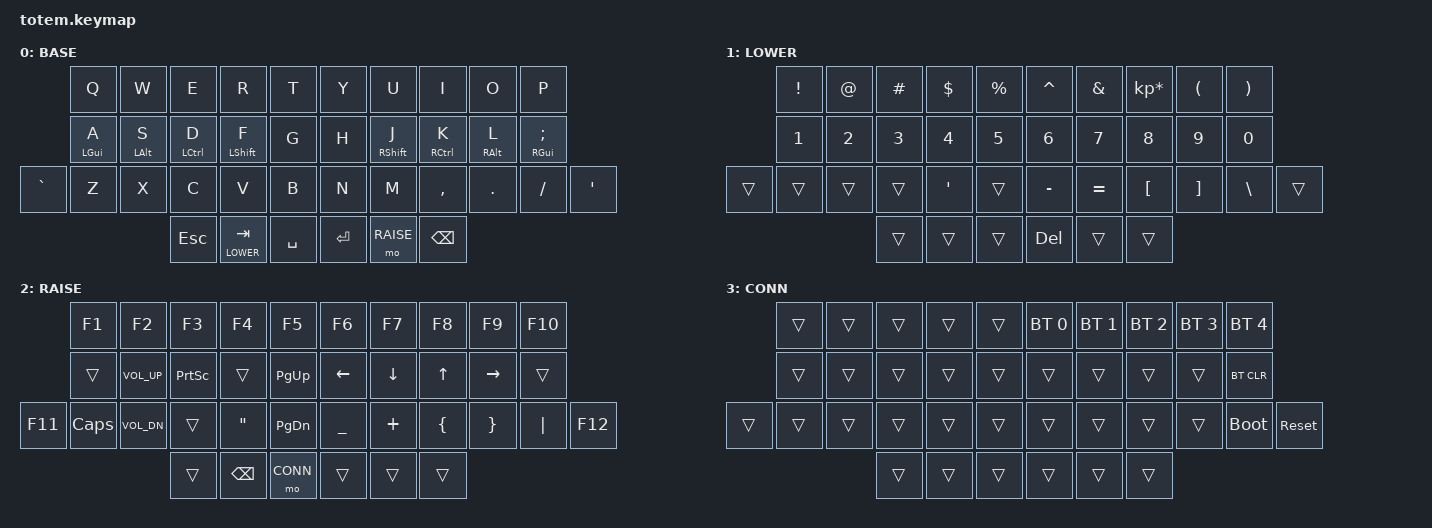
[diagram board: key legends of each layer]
//
//                                                        ▀▀▀▀▀     ▀▀▀▀▀          ▀▀█▀▀
//                                                        ▄▀▀▀▄  ▄  ▄▀▀▀▄  ▄  ▄▀▀▀▄  █  ▄▀▀▀▄
//                                                        █   █  █  █   █  █  █   █  █  █   █
//                                                         ▀▀▀   █   ▀▀▀   █   ▀▀▀   ▀   ▀▀▀
//                                                               █      ▄▄▄█▄▄▄    █   █  
//                                                               ▀      █  █  █     █▄█
//                                                             ▀▀▀▀▀    █  █  █      ▀
//                                                                      ▀  ▀  ▀
//
// ▄▄▄▄▄▄▄▄▄▄▄▄▄▄▄▄▄▄▄▄▄▄▄▄▄▄▄▄▄▄▄▄▄▄▄▄▄▄▄▄▄▄▄▄▄▄▄▄▄▄▄▄▄▄▄▄▄▄▄▄▄▄▄▄▄▄▄▄▄▄▄▄▄▄▄▄▄▄▄▄▄▄▄▄▄▄▄▄▄▄▄▄▄▄▄▄▄▄▄▄▄▄▄▄▄▄▄▄▄▄▄▄▄▄▄▄▄▄▄▄▄▄▄▄▄▄▄▄▄▄▄▄▄▄▄▄▄▄▄▄▄▄▄▄▄▄▄▄▄
       

#include <behaviors.dtsi>
#include <dt-bindings/zmk/keys.h>
#include <dt-bindings/zmk/bt.h>
#include <dt-bindings/zmk/outputs.h>

#define BASE 0
#define LOWER  1
#define RAISE  2
#define CONN  3

&mt {
  quick-tap-ms = <160>;
  global-quick-tap;
  flavor = "tap-preferred";
  tapping-term-ms = <160>;
};

/ {
        keymap {
                compatible = "zmk,keymap";
// ▄▄▄▄▄▄▄▄▄▄▄▄▄▄▄▄▄▄▄▄▄▄▄▄▄▄▄▄▄▄▄▄▄▄▄▄▄▄▄▄▄▄▄▄▄▄▄▄▄▄▄▄▄▄▄▄▄▄▄▄▄▄▄▄▄▄▄▄▄▄▄▄▄▄▄▄▄▄▄▄▄▄▄▄▄▄▄▄▄▄▄▄▄▄▄▄▄▄▄▄▄▄▄▄▄▄▄▄▄▄▄▄▄▄▄▄▄▄▄▄▄▄▄▄▄▄▄▄▄▄▄▄▄▄▄▄▄▄▄▄▄▄▄▄▄▄▄▄▄

                base_layer {
// ┏━━━━━━━━━━━━━━━━━━━━━━━━━━━━━━━━━━━━━━━┓
label= "BASE"                              ;
// ┗━━━━━━━━━━━━━━━━━━━━━━━━━━━━━━━━━━━━━━━┛
//             ┏━━━━━━━━━━━┳━━━━━━━━━━━┳━━━━━━━━━━━┳━━━━━━━━━━━┳━━━━━━━━━━━┓   ┏━━━━━━━━━━━┳━━━━━━━━━━━┳━━━━━━━━━━━┳━━━━━━━━━━━┳━━━━━━━━━━━┓
//             ┃     Q     ┃     W     ┃     E     ┃     R     ┃     T     ┃   ┃     Y     ┃     U     ┃     I     ┃     O     ┃     P     ┃
//             ┣━━━━━━━━━━━╋━━━━━━━━━━━╋━━━━━━━━━━━╋━━━━━━━━━━━╋━━━━━━━━━━━┫   ┣━━━━━━━━━━━╋━━━━━━━━━━━╋━━━━━━━━━━━╋━━━━━━━━━━━╋━━━━━━━━━━━┫
//             ┃     A     ┃     S     ┃     D     ┃     F     ┃     G     ┃   ┃     H     ┃     J     ┃     h     ┃     L     ┃     ;     ┃
// ┏━━━━━━━━━━━╋━━━━━━━━━━━╋━━━━━━━━━━━╋━━━━━━━━━━━╋━━━━━━━━━━━╋━━━━━━━━━━━┫   ┣━━━━━━━━━━━╋━━━━━━━━━━━╋━━━━━━━━━━━╋━━━━━━━━━━━╋━━━━━━━━━━━╋━━━━━━━━━━━┓
// ┃     `     ┃     Z     ┃     X     ┃     C     ┃     V     ┃     B     ┃   ┃     N     ┃     M     ┃     ,     ┃     .     ┃     /     ┃     '     ┃
// ┗━━━━━━━━━━━┻━━━━━━━━━━━┻━━━━━━━━━━━╋━━━━━━━━━━━╋━━━━━━━━━━━╋━━━━━━━━━━━┫   ┣━━━━━━━━━━━╋━━━━━━━━━━━╋━━━━━━━━━━━╋━━━━━━━━━━━┻━━━━━━━━━━━┻━━━━━━━━━━━┛
//                                     ┃    ESC    ┃    TAB    ┃  SPACE    ┃   ┃    RET    ┃           ┃   BSPC    ┃
//                                     ┗━━━━━━━━━━━┻━━━━━━━━━━━┻━━━━━━━━━━━┛   ┗━━━━━━━━━━━┻━━━━━━━━━━━┻━━━━━━━━━━━┛
 bindings = <
// ╷           ╷           ╷           ╷           ╷           ╷           ╷   ╷           ╷           ╷           ╷           ╷           ╷           ╷

                &kp Q       &kp W       &kp E       &kp R           &kp T           &kp Y       &kp U       &kp I       &kp O       &kp P
                &mt LGUI A  &mt LALT S  &mt LCTRL D &mt LSHFT F     &kp G           &kp H       &mt RSHFT J &mt RCTRL K &mt RALT L  &mt RGUI SEMI
    &kp GRAVE   &kp Z       &kp X       &kp C       &kp V           &kp B           &kp N       &kp M       &kp COMMA   &kp DOT     &kp FSLH      &kp APOS
                                        &kp ESC     &lt LOWER TAB   &kp SPACE       &kp RET     &mo RAISE   &kp BSPC
                        >;
                };

// ▄▄▄▄▄▄▄▄▄▄▄▄▄▄▄▄▄▄▄▄▄▄▄▄▄▄▄▄▄▄▄▄▄▄▄▄▄▄▄▄▄▄▄▄▄▄▄▄▄▄▄▄▄▄▄▄▄▄▄▄▄▄▄▄▄▄▄▄▄▄▄▄▄▄▄▄▄▄▄▄▄▄▄▄▄▄▄▄▄▄▄▄▄▄▄▄▄▄▄▄▄▄▄▄▄▄▄▄▄▄▄▄▄▄▄▄▄▄▄▄▄▄▄▄▄▄▄▄▄▄▄▄▄▄▄▄▄▄▄▄▄▄▄▄▄▄▄▄▄


                lower_layer {
// ┏━━━━━━━━━━━━━━━━━━━━━━━━━━━━━━━━━━━━━━━┓
label= "LOWER"                              ;
// ┗━━━━━━━━━━━━━━━━━━━━━━━━━━━━━━━━━━━━━━━┛
//             ┏━━━━━━━━━━━┳━━━━━━━━━━━┳━━━━━━━━━━━┳━━━━━━━━━━━┳━━━━━━━━━━━┓   ┏━━━━━━━━━━━┳━━━━━━━━━━━┳━━━━━━━━━━━┳━━━━━━━━━━━┳━━━━━━━━━━━┓
//             ┃     !     ┃     @     ┃     #     ┃     $     ┃     %     ┃   ┃     ^     ┃     &     ┃     *     ┃     (     ┃     )     ┃
//             ┣━━━━━━━━━━━╋━━━━━━━━━━━╋━━━━━━━━━━━╋━━━━━━━━━━━╋━━━━━━━━━━━┫   ┣━━━━━━━━━━━╋━━━━━━━━━━━╋━━━━━━━━━━━╋━━━━━━━━━━━╋━━━━━━━━━━━┫
//             ┃     1     ┃     2     ┃     3     ┃     4     ┃     5     ┃   ┃     6     ┃     7     ┃     8     ┃     9     ┃     0     ┃
// ┏━━━━━━━━━━━╋━━━━━━━━━━━╋━━━━━━━━━━━╋━━━━━━━━━━━╋━━━━━━━━━━━╋━━━━━━━━━━━┫   ┣━━━━━━━━━━━╋━━━━━━━━━━━╋━━━━━━━━━━━╋━━━━━━━━━━━╋━━━━━━━━━━━╋━━━━━━━━━━━┓
// ┃           ┃           ┃           ┃           ┃     '     ┃           ┃   ┃     -     ┃     =     ┃     [     ┃     ]     ┃     \     ┃           ┃
// ┗━━━━━━━━━━━┻━━━━━━━━━━━┻━━━━━━━━━━━╋━━━━━━━━━━━╋━━━━━━━━━━━╋━━━━━━━━━━━┫   ┣━━━━━━━━━━━╋━━━━━━━━━━━╋━━━━━━━━━━━╋━━━━━━━━━━━┻━━━━━━━━━━━┻━━━━━━━━━━━┛
//                                     ┃           ┃           ┃           ┃   ┃           ┃           ┃           ┃
//                                     ┗━━━━━━━━━━━┻━━━━━━━━━━━┻━━━━━━━━━━━┛   ┗━━━━━━━━━━━┻━━━━━━━━━━━┻━━━━━━━━━━━┛
 bindings = <
// ╷           ╷           ╷           ╷           ╷           ╷           ╷   ╷           ╷           ╷           ╷           ╷           ╷           ╷

                &kp EXCL    &kp AT      &kp HASH    &kp DLLR    &kp PRCNT       &kp CARET   &kp AMPS    &kp KP_MULTIPLY   &kp LPAR  &kp RPAR
                &kp N1      &kp N2      &kp N3      &kp N4      &kp N5          &kp N6      &kp N7      &kp N8            &kp N9    &kp N0        
    &trans      &trans      &trans      &trans      &kp APOS      &trans          &kp MINUS   &kp EQUAL   &kp LBKT          &kp RBKT  &kp BSLH    &trans 
                                        &trans      &trans      &trans          &kp DEL     &trans      &trans      
                        >;
                };

// ▄▄▄▄▄▄▄▄▄▄▄▄▄▄▄▄▄▄▄▄▄▄▄▄▄▄▄▄▄▄▄▄▄▄▄▄▄▄▄▄▄▄▄▄▄▄▄▄▄▄▄▄▄▄▄▄▄▄▄▄▄▄▄▄▄▄▄▄▄▄▄▄▄▄▄▄▄▄▄▄▄▄▄▄▄▄▄▄▄▄▄▄▄▄▄▄▄▄▄▄▄▄▄▄▄▄▄▄▄▄▄▄▄▄▄▄▄▄▄▄▄▄▄▄▄▄▄▄▄▄▄▄▄▄▄▄▄▄▄▄▄▄▄▄▄▄▄▄▄


                raise_layer {
// ┏━━━━━━━━━━━━━━━━━━━━━━━━━━━━━━━━━━━━━━━┓
label= "RAISE"                               ;
// ┗━━━━━━━━━━━━━━━━━━━━━━━━━━━━━━━━━━━━━━━┛
//             ┏━━━━━━━━━━━┳━━━━━━━━━━━┳━━━━━━━━━━━┳━━━━━━━━━━━┳━━━━━━━━━━━┓   ┏━━━━━━━━━━━┳━━━━━━━━━━━┳━━━━━━━━━━━┳━━━━━━━━━━━┳━━━━━━━━━━━┓
//             ┃     F1    ┃     F2    ┃     F3    ┃     F4    ┃     F5    ┃   ┃     F6    ┃     F7    ┃     F8    ┃     F9    ┃     F10   ┃
//             ┣━━━━━━━━━━━╋━━━━━━━━━━━╋━━━━━━━━━━━╋━━━━━━━━━━━╋━━━━━━━━━━━┫   ┣━━━━━━━━━━━╋━━━━━━━━━━━╋━━━━━━━━━━━╋━━━━━━━━━━━╋━━━━━━━━━━━┫
//             ┃           ┃ VOL UP    ┃    PRINT  ┃           ┃  PG UP    ┃   ┃    LEFT   ┃    DOWN   ┃     UP    ┃    RIGHT  ┃           ┃
// ┏━━━━━━━━━━━╋━━━━━━━━━━━╋━━━━━━━━━━━╋━━━━━━━━━━━╋━━━━━━━━━━━╋━━━━━━━━━━━┫   ┣━━━━━━━━━━━╋━━━━━━━━━━━╋━━━━━━━━━━━╋━━━━━━━━━━━╋━━━━━━━━━━━╋━━━━━━━━━━━┓
// ┃    F11    ┃    CAPS   ┃ VOL DOWN  ┃           ┃     "     ┃  PG DOWN  ┃   ┃     _     ┃     +     ┃     {     ┃      }    ┃     |     ┃    F12    ┃
// ┗━━━━━━━━━━━┻━━━━━━━━━━━┻━━━━━━━━━━━╋━━━━━━━━━━━╋━━━━━━━━━━━╋━━━━━━━━━━━┫   ┣━━━━━━━━━━━╋━━━━━━━━━━━╋━━━━━━━━━━━╋━━━━━━━━━━━┻━━━━━━━━━━━┻━━━━━━━━━━━┛
//                                     ┃           ┃   BSPC    ┃   CONN    ┃   ┃           ┃           ┃           ┃
//                                     ┗━━━━━━━━━━━┻━━━━━━━━━━━┻━━━━━━━━━━━┛   ┗━━━━━━━━━━━┻━━━━━━━━━━━┻━━━━━━━━━━━┛
 bindings = <
// ╷           ╷           ╷           ╷           ╷           ╷           ╷   ╷           ╷           ╷           ╷           ╷           ╷           ╷

                &kp F1      &kp F2            &kp F3      &kp F4        &kp F5        &kp F6      &kp F7      &kp F8      &kp F9      &kp F10     
                &trans      &kp C_VOL_UP      &kp PSCRN   &trans        &kp PG_UP     &kp LEFT    &kp DOWN    &kp UP      &kp RIGHT   &trans   
    &kp F11     &kp CAPS    &kp C_VOL_DN      &trans      &kp DQT       &kp PG_DN     &kp UNDER   &kp PLUS    &kp LBRC    &kp RBRC    &kp PIPE    &kp F12
                                              &trans      &kp BSPC      &mo CONN      &trans      &trans      &trans
                        >;
                };

// ▄▄▄▄▄▄▄▄▄▄▄▄▄▄▄▄▄▄▄▄▄▄▄▄▄▄▄▄▄▄▄▄▄▄▄▄▄▄▄▄▄▄▄▄▄▄▄▄▄▄▄▄▄▄▄▄▄▄▄▄▄▄▄▄▄▄▄▄▄▄▄▄▄▄▄▄▄▄▄▄▄▄▄▄▄▄▄▄▄▄▄▄▄▄▄▄▄▄▄▄▄▄▄▄▄▄▄▄▄▄▄▄▄▄▄▄▄▄▄▄▄▄▄▄▄▄▄▄▄▄▄▄▄▄▄▄▄▄▄▄▄▄▄▄▄▄▄▄▄


                conn_layer {
// ┏━━━━━━━━━━━━━━━━━━━━━━━━━━━━━━━━━━━━━━━┓
label= "CONN"                               ;
// ┗━━━━━━━━━━━━━━━━━━━━━━━━━━━━━━━━━━━━━━━┛
//             ┏━━━━━━━━━━━┳━━━━━━━━━━━┳━━━━━━━━━━━┳━━━━━━━━━━━┳━━━━━━━━━━━┓   ┏━━━━━━━━━━━┳━━━━━━━━━━━┳━━━━━━━━━━━┳━━━━━━━━━━━┳━━━━━━━━━━━┓
//             ┃           ┃           ┃           ┃           ┃           ┃   ┃   BT 0    ┃  BT 1     ┃  BT 2     ┃  BT 3     ┃  BT 4     ┃
//             ┣━━━━━━━━━━━╋━━━━━━━━━━━╋━━━━━━━━━━━╋━━━━━━━━━━━╋━━━━━━━━━━━┫   ┣━━━━━━━━━━━╋━━━━━━━━━━━╋━━━━━━━━━━━╋━━━━━━━━━━━╋━━━━━━━━━━━┫
//             ┃           ┃           ┃           ┃           ┃           ┃   ┃           ┃           ┃           ┃           ┃    BT CLR ┃
// ┏━━━━━━━━━━━╋━━━━━━━━━━━╋━━━━━━━━━━━╋━━━━━━━━━━━╋━━━━━━━━━━━╋━━━━━━━━━━━┫   ┣━━━━━━━━━━━╋━━━━━━━━━━━╋━━━━━━━━━━━╋━━━━━━━━━━━╋━━━━━━━━━━━╋━━━━━━━━━━━┓
// ┃           ┃           ┃           ┃           ┃           ┃           ┃   ┃           ┃           ┃           ┃           ┃BOOT LOADER┃SYS RESET  ┃
// ┗━━━━━━━━━━━┻━━━━━━━━━━━┻━━━━━━━━━━━╋━━━━━━━━━━━╋━━━━━━━━━━━╋━━━━━━━━━━━┫   ┣━━━━━━━━━━━╋━━━━━━━━━━━╋━━━━━━━━━━━╋━━━━━━━━━━━┻━━━━━━━━━━━┻━━━━━━━━━━━┛
//                                     ┃           ┃           ┃           ┃   ┃           ┃           ┃           ┃
//                                     ┗━━━━━━━━━━━┻━━━━━━━━━━━┻━━━━━━━━━━━┛   ┗━━━━━━━━━━━┻━━━━━━━━━━━┻━━━━━━━━━━━┛
 bindings = <
// ╷           ╷           ╷           ╷           ╷           ╷           ╷   ╷           ╷           ╷           ╷           ╷           ╷           ╷

                &trans      &trans      &trans      &trans      &trans          &bt BT_SEL 0  &bt BT_SEL 1    &bt BT_SEL 2    &bt BT_SEL 3    &bt BT_SEL 4  
                &trans      &trans      &trans      &trans      &trans          &trans        &trans          &trans          &trans          &bt BT_CLR  
    &trans      &trans      &trans      &trans      &trans      &trans          &trans        &trans          &trans          &trans          &bootloader     &sys_reset         
                                        &trans      &trans      &trans          &trans        &trans          &trans      
                        >;
                };

// ▄▄▄▄▄▄▄▄▄▄▄▄▄▄▄▄▄▄▄▄▄▄▄▄▄▄▄▄▄▄▄▄▄▄▄▄▄▄▄▄▄▄▄▄▄▄▄▄▄▄▄▄▄▄▄▄▄▄▄▄▄▄▄▄▄▄▄▄▄▄▄▄▄▄▄▄▄▄▄▄▄▄▄▄▄▄▄▄▄▄▄▄▄▄▄▄▄▄▄▄▄▄▄▄▄▄▄▄▄▄▄▄▄▄▄▄▄▄▄▄▄▄▄▄▄▄▄▄▄▄▄▄▄▄▄▄▄▄▄▄▄▄▄▄▄▄▄▄▄
        };
};
